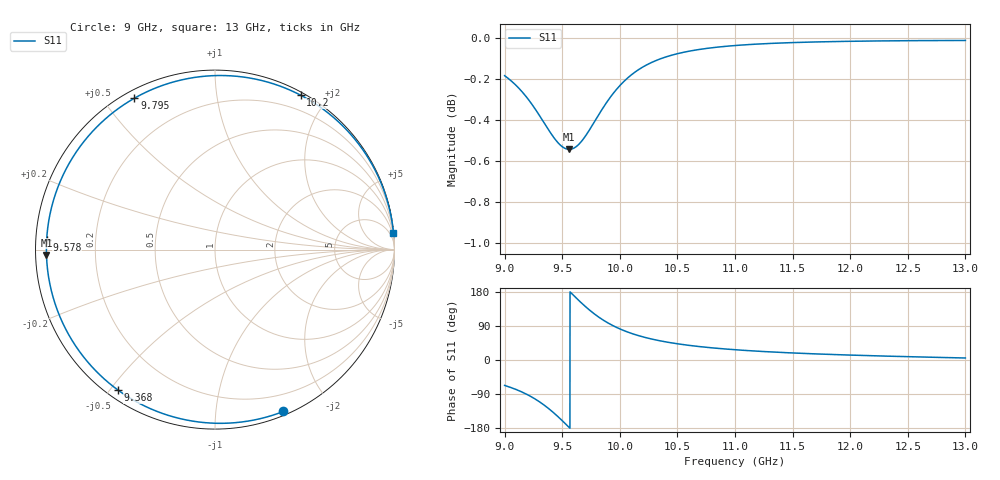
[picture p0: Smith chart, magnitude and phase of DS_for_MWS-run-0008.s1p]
! TOUCHSTONE file generated by CST DESIGN STUDIO
! Date and time: Tue Feb  4 13:36:42 2025
! Project name: C:\Work\MatlabApps\UnitCellOptimizationMatlab\CST\unitcell.cst
! Tree item: Tasks\Sweep1\SPara1\S-Parameters
! Header version: 2024
! Port assignment regex: !\s*Touchstone port\s*([0-9]+)\s*=\s*(CST MWS port|CST DES external port|CST DES block port)\s*(.+)\s* \(\"(.*)\"\)(\s*mode\s*([0-9]+))?.*
! Touchstone port assignment:
! Touchstone port 1 = CST DES external port 1 ("")
# GHz S MA R 50
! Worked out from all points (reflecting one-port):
!   4001 points, 9 GHz to 13 GHz, reference 50 ohm
!   lowest |S11| = -0.5 dB at 9.561 GHz (marker M1), VSWR 32.02, Z = 1.56 - j0.789 ohm
!   phase of S11 starts at -67 deg and turns -288 deg over the sweep
!   S11 on the Smith chart (normalised r, x): 9 GHz: 0.03, -1.51; 9.368 GHz: 0.03, -0.52; 9.578 GHz: 0.03, +0.03; 9.795 GHz: 0.03, +0.60; 10.2 GHz: 0.03, +1.70; 13 GHz: 0, +22
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9  0.979 -67.1
9.041  0.977 -71.2
9.107  0.9732 -78.8
9.22  0.9649 -95.0
9.298  0.9578 -109.4
9.368  0.951 -124.7
9.432  0.9453 -140.9
9.5  0.9408 -160.0
9.561  0.9394 -178.2
9.578  0.9395 176.7
9.633  0.9414 160.3
9.694  0.9458 143.0
9.744  0.9504 130.0
9.795  0.9556 118.0
9.839  0.96 108.7
9.887  0.9645 99.6
9.94  0.9691 90.8
10  0.9735 82.1
10.096  0.9792 70.7
10.201  0.9838 61.0
10.338  0.9879 51.3
10.5  0.9911 42.8
10.721  0.9937 34.4
11  0.9956 27.1
11.5  0.9973 18.6
12  0.998 13.0
12.5  0.9983 8.8
13  0.9985 5.3
